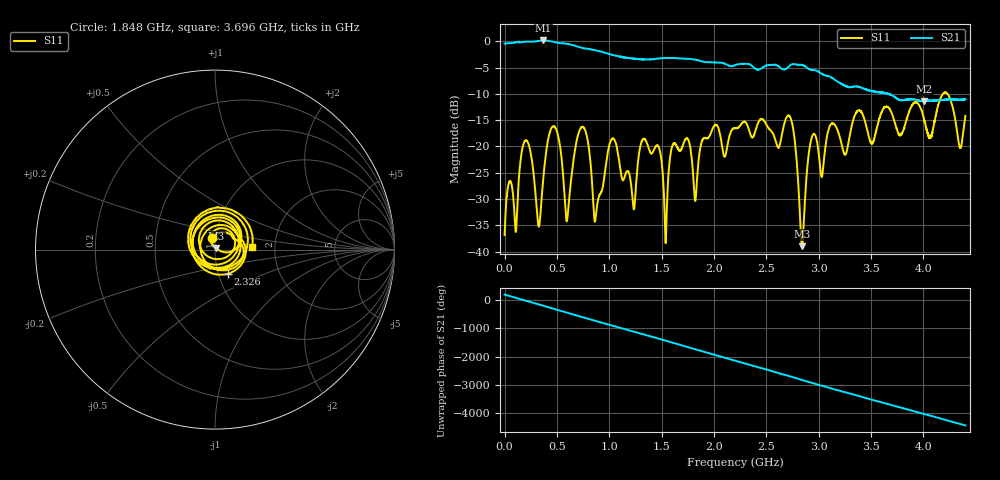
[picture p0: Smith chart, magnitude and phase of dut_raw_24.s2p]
!Created with skrf (http://scikit-rf.org).
# Hz S RI R 50.0
!freq ReS11 ImS11 ReS21 ImS21 ReS12 ImS12 ReS22 ImS22
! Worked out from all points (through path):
!   4400 points, 1 MHz to 4.4 GHz, reference 50 ohm
!   highest |S21| = 0.15 dB at 370 MHz (marker M1); lowest = -11.4 dB at 4.008 GHz (marker M2)
!   lowest |S11| = -38.9 dB at 2.839 GHz (marker M3), VSWR 1.02, Z = 50.8 + j0.815 ohm
!   |S11| at or under -10 dB: start of sweep to 4.185 GHz; 4.23 GHz to end of sweep
!   S12 and S22 are empty: the file has one direction only
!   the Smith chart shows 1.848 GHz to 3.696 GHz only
!   S11 on the Smith chart (normalised r, x): 1.848 GHz: 0.96, +0.12; 2.326 GHz: 1.11, -0.31; 3.696 GHz: 1.52, +0.05
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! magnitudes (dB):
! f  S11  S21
! 1 MHz  -36.8  -0.4
! 196 MHz  -18.9  -0.1
! 370 MHz  -26.1  0.2
! 482 MHz  -16.3  -0.2
! 599 MHz  -33.8  -0.5
! 735 MHz  -16.3  -1.2
! 868 MHz  -33.9  -1.7
! 1.025 GHz  -18.6  -2.6
! 1.232 GHz  -31.8  -3.3
! 1.468 GHz  -20.0  -3.3
! 1.538 GHz  -38.4  -3.2
! 1.613 GHz  -19.4  -3.2
! 1.848 GHz  -23.6  -3.6
! 2.201 GHz  -16.6  -4.6
! 2.326 GHz  -16.3  -4.3
! 2.726 GHz  -14.4  -4.6
! 2.839 GHz  -38.9  -4.5
! 2.934 GHz  -18.2  -5.5
! 3.667 GHz  -12.6  -10.0
! 3.696 GHz  -13.7  -10.2
! 4.008 GHz  -15.2  -11.4
! 4.4 GHz  -14.2  -11.0
